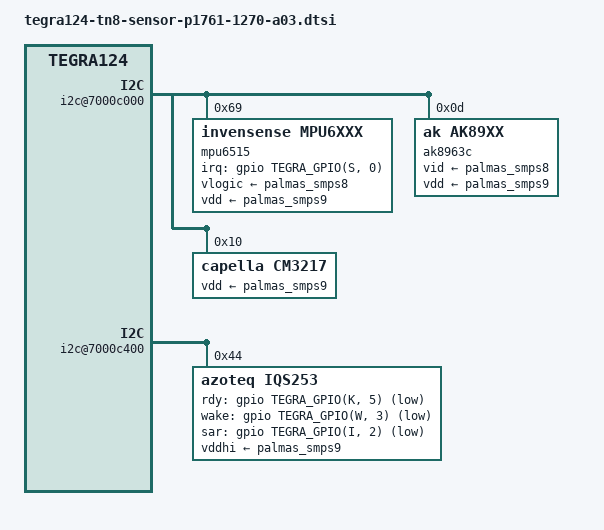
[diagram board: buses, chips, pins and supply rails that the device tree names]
/* Copyright (c) 2015, NVIDIA CORPORATION.  All rights reserved.
 *
 * This program is free software; you can redistribute it and/or modify
 * it under the terms of the GNU General Public License as published by
 * the Free Software Foundation; either version 2 of the License, or
 * (at your option) any later version.
 *
 * This program is distributed in the hope that it will be useful, but WITHOUT
 * ANY WARRANTY; without even the implied warranty of MERCHANTABILITY or
 * FITNESS FOR A PARTICULAR PURPOSE.  See the GNU General Public License for
 * more details.
 *
 * You should have received a copy of the GNU General Public License along
 * with this program; if not, write to the Free Software Foundation, Inc.,
 * 51 Franklin Street, Fifth Floor, Boston, MA  02110-1301, USA.
 */

#include <dt-bindings/gpio/tegra-gpio.h>

/ {
	i2c@7000c000 {
		mpu6515@69 {
			compatible = "invensense,mpu6xxx";
			reg = <0x69>;
			interrupt-parent = <&gpio>;
			interrupts = <TEGRA_GPIO(S, 0) 0x01>;
			accelerometer_matrix = [ff 00 00 00 01 00 00 00 ff];
			gyroscope_matrix = [ff 00 00 00 01 00 00 00 ff];
			vlogic-supply = <&palmas_smps8>;
			vdd-supply = <&palmas_smps9>;
		};

		ak8963c@0d {
			compatible = "ak,ak89xx";
			reg = <0x0d>;
			magnetic_field_matrix = [ff 00 00 00 01 00 00 00 ff];
			vid-supply = <&palmas_smps8>;
			vdd-supply = <&palmas_smps9>;
		};

		cm3217@10 {
			compatible = "capella,cm3217";
			reg = <0x10>;
			vdd-supply = <&palmas_smps9>;
			light_dynamic_resolution_index_limit_low = <0>;
			light_dynamic_resolution_index_limit_high = <3>;
			light_lux_maximum = <3000000>;
			light_report_count = <2>;
			light_threshold_lo = <0>;
			light_threshold_hi = <1>;
			light_nld_thr_i_hi_0 = <40>;
			light_nld_thr_i_lo_1 = <18>;
			light_nld_thr_i_hi_1 = <55>;
			light_nld_thr_i_lo_2 = <24>;
			light_nld_thr_i_hi_2 = <50>;
			light_nld_thr_i_lo_3 = <23>;
			light_uncalibrated_lo = <60>;
			light_uncalibrated_hi = <1845>;
			light_calibrated_lo = <8900>;
			light_calibrated_hi = <312000>;
		};

		ltr659@23 {
			status = "disabled";
			compatible = "liteon,ltrX5X";
			reg = <0x23>;
			vdd-supply = <&palmas_smps9>;
			vled-supply = <&palmas_smps8>;
			proximity_threshold_lo = <120>;
			proximity_threshold_hi = <130>;
		};
	};

	i2c@7000c400 {
		status = "okay";

		iqs253@44 {
			compatible = "azoteq,iqs253";
			reg = <0x44>;
			vddhi-supply = <&palmas_smps9>;
			vendor = "Azoteq";
			proximity,max-range = "2"; /* 2 cm */
			proximity,integration-time = "16000000"; /* 16 msec */
			proximity,power-consumed = "1.67"; /* approx mA */
			rdy-gpio = <&gpio TEGRA_GPIO(K, 5) GPIO_ACTIVE_LOW>;
			wake-gpio = <&gpio TEGRA_GPIO(W, 3) GPIO_ACTIVE_LOW>;
			sar-gpio = <&gpio TEGRA_GPIO(I, 2) GPIO_ACTIVE_LOW>;
		};
	};
};
